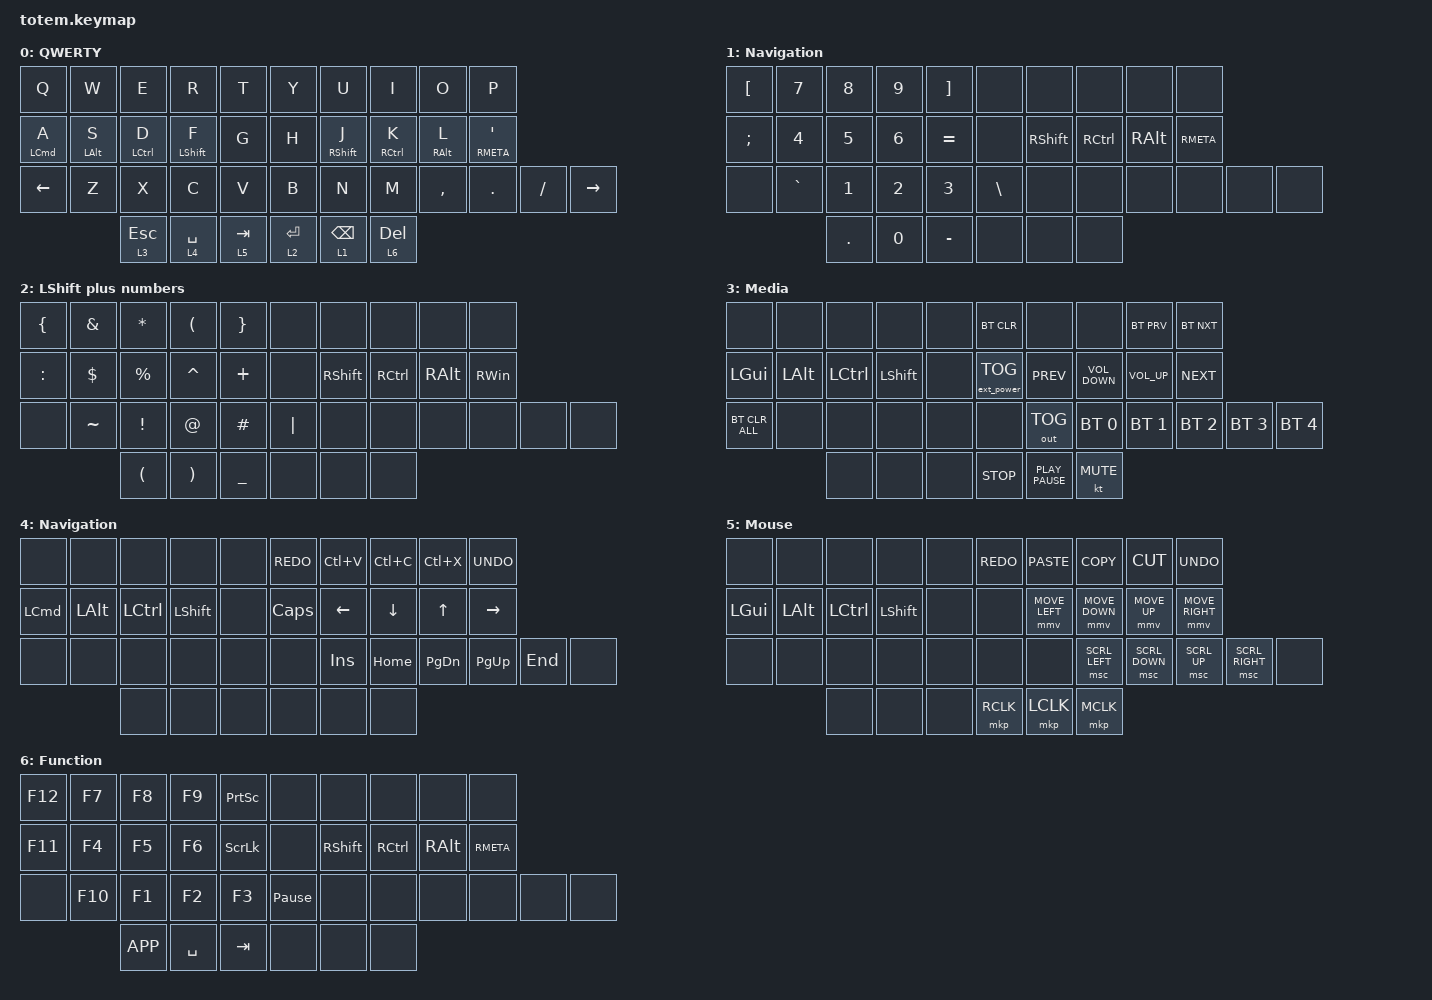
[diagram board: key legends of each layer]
#include "zmk-helpers/helper.h"
#include "zmk-helpers/key-labels/totem.h"
#include <behaviors.dtsi>
#include <dt-bindings/zmk/bt.h>
#include <dt-bindings/zmk/ext_power.h>
#include <dt-bindings/zmk/keys.h>
#include <dt-bindings/zmk/outputs.h>
#include <dt-bindings/zmk/pointing.h>

#define BASE 0
#define NAV  1
#define DIG  2
#define SYS  3

#define QUICK_TAP_MS 175

/* Timeless homerow mods */
// https://github.com/urob/zmk-config/tree/main#timeless-homerow-mods

#define KEYS_L LT0 LT1 LT2 LT3 LT4 LM0 LM1 LM2 LM3 LM4 LB0 LB1 LB2 LB3 LB4 LB5 // left hand
#define KEYS_R RT0 RT1 RT2 RT3 RT4 RM0 RM1 RM2 RM3 RM4 RB0 RB1 RB2 RB3 RB4 RB5 // right hand
#define THUMBS LH2 LH1 LH0 RH0 RH1 RH2 // thumb cluster for both hands

&mt {
    quick-tap-ms = <100>;
    global-quick-tap;
    flavor = "tap-preferred";
    tapping-term-ms = <170>;
};

/ {
    macros {
        /**
         * Temporarily switches to a layer (`&mo`) while a modifier is held.
         * Analogous to QMK's `LM()`, using a parameterized macro.
         *
         * Params:
         *  1. Layer to switch to
         *  2. Modifier to press while layer is active
         *
         * Example:
         *   `&lm NUM_LAYER LSHIFT`
         */
        lm: lm {
            compatible = "zmk,behavior-macro-two-param";
            wait-ms = <0>;
            tap-ms = <0>;
            #binding-cells = <2>;
            bindings =
                <&macro_param_1to1>,
                <&macro_press>,
                <&mo MACRO_PLACEHOLDER &macro_param_2to1>,
                <&macro_press>,
                <&kp MACRO_PLACEHOLDER>,
                <&macro_pause_for_release>,
                <&macro_param_2to1>,
                <&macro_release>,
                <&kp MACRO_PLACEHOLDER &macro_param_1to1>,
                <&macro_release>,
                <&mo MACRO_PLACEHOLDER>;
        };

        press_two_keys: press_two_keys {
            compatible = "zmk,behavior-macro-two-param";
            wait-ms = <0>;
            tap-ms = <0>;
            #binding-cells = <2>;
            bindings =
                <&macro_param_1to1>,
                <&macro_tap>,
                <&kp MACRO_PLACEHOLDER &macro_param_2to1>,
                <&macro_tap>,
                <&kp MACRO_PLACEHOLDER>;
        };

        more_or_equal: more_or_equal {
            compatible = "zmk,behavior-macro";
            #binding-cells = <0>;
            bindings = <&kp MINUS &kp GT>;
            label = "MORE_OR_EQUAL";
        };

        less_or_equal: less_or_equal {
            compatible = "zmk,behavior-macro";
            #binding-cells = <0>;
            bindings = <&kp LT &kp EQUAL>;
            label = "LESS_OR_EQUAL";
        };

        fun_arrow_right: fun_arrow_right {
            compatible = "zmk,behavior-macro";
            #binding-cells = <0>;
            bindings = <&kp MINUS &kp GT>;
            label = "FUN_ARROW_RIGHT";
        };

        comment: comment {
            compatible = "zmk,behavior-macro";
            #binding-cells = <0>;
            bindings = <&kp FSLH &kp STAR>;
            label = "MACROS_COMMENT";
        };
    };

    behaviors {
        // this is homerow mod that works identical to urob's one, but this one allows visual editor to understand
        hml: hml {
            compatible = "zmk,behavior-hold-tap";
            label = "HML";
            bindings = <&kp>, <&kp>;
            #binding-cells = <2>;
            tapping-term-ms = <280>;
            quick-tap-ms = <175>;
            require-prior-idle-ms = <150>;
            flavor = "balanced";
            hold-trigger-key-positions = <KEYS_R THUMBS>;
            hold-trigger-on-release;
        };

        hmr: hmr {
            compatible = "zmk,behavior-hold-tap";
            label = "HMR";
            bindings = <&kp>, <&kp>;
            #binding-cells = <2>;
            tapping-term-ms = <280>;
            quick-tap-ms = <175>;
            require-prior-idle-ms = <150>;
            flavor = "balanced";
            hold-trigger-key-positions = <KEYS_L THUMBS>;
            hold-trigger-on-release;
        };

        comment_or: comment_or {
            compatible = "zmk,behavior-hold-tap";
            label = "slash_or_comm";
            bindings = <&comment>, <&kp>;
            #binding-cells = <2>;
            tapping-term-ms = <200>;
            flavor = "tap-preferred";
        };

        // Custom hold-tap for Backspace / Numbers layer
        // Tap = Backspace (with autorepeat via quick-tap)
        // Hold = Numbers layer (Layer 1)
        // Tap-then-hold within 175ms = Backspace autorepeat
        bspc_num: bspc_num {
            compatible = "zmk,behavior-hold-tap";
            label = "BSPC_NUM";
            bindings = <&mo>, <&kp>;
            #binding-cells = <2>;
            flavor = "balanced";
            tapping-term-ms = <280>;
            quick-tap-ms = <175>;
            require-prior-idle-ms = <150>;
        };
    };

    keymap {
        compatible = "zmk,keymap";

        Base {
            label = "QWERTY";
            bindings = <
                &kp Q           &kp W           &kp E           &kp R           &kp T           &kp Y           &kp U           &kp I           &kp O           &kp P
                &hml LCMD A     &hml LALT S     &hml LCTRL D    &hml LEFT_SHIFT F &kp G           &kp H           &hmr RIGHT_SHIFT J &hmr RCTRL K   &hmr RIGHT_ALT L &hmr RMETA APOS
                &kp LEFT           &kp Z           &kp X           &kp C           &kp V           &kp B           &kp N           &kp M           &kp COMMA       &kp DOT         &kp SLASH       &kp RIGHT
                                                &lt 3 ESCAPE    &lt 4 SPACE     &lt 5 TAB       &lt 2 RET       &bspc_num 1 BACKSPACE &lt 6 DEL
            >;
        };

        NUMBERS {
            label = "Navigation";
            bindings = <
                &kp LEFT_BRACKET &kp N7          &kp N8          &kp N9          &kp RIGHT_BRACKET &none           &none           &none           &none           &none
                &kp SEMI        &kp NUMBER_4    &kp N5          &kp NUMBER_6    &kp EQUAL       &none           &kp RIGHT_SHIFT &kp RCTRL       &kp RIGHT_ALT   &kp RMETA
                &none           &kp GRAVE       &kp NUMBER_1    &kp NUMBER_2    &kp NUMBER_3    &kp BACKSLASH   &none           &none           &none           &none           &none           &none
                                                &kp PERIOD      &kp N0          &kp MINUS       &none           &none           &none
            >;
        };

        SYMBOLS {
            label = "LShift plus numbers";
            bindings = <
                &kp LEFT_BRACE  &kp AMPERSAND   &kp STAR        &kp LPAR        &kp RIGHT_BRACE &none           &none           &none           &none           &none
                &kp COLON       &kp DOLLAR      &kp PERCENT     &kp CARET       &kp PLUS        &none           &kp RIGHT_SHIFT &kp RCTRL       &kp RIGHT_ALT   &kp RWIN
                &none           &kp TILDE       &kp EXCL        &kp AT          &kp HASH        &kp PIPE        &none           &none           &none           &none           &none           &none
                                                &kp LEFT_PARENTHESIS &kp RIGHT_PARENTHESIS &kp UNDER &none      &none           &none
            >;
        };

        MEDIA {
            label = "Media";
            bindings = <
                &none           &none           &none           &none           &none           &bt BT_CLR      &none           &none           &bt BT_PRV      &bt BT_NXT
                &kp LEFT_GUI    &kp LALT        &kp LCTRL       &kp LSHFT       &none           &ext_power EP_TOG &kp K_PREV    &kp K_VOLUME_DOWN &kp K_VOLUME_UP &kp K_NEXT
                &bt BT_CLR_ALL  &none           &none           &none           &none           &none           &out OUT_TOG    &bt BT_SEL 0    &bt BT_SEL 1    &bt BT_SEL 2    &bt BT_SEL 3    &bt BT_SEL 4
                                                &none           &none           &none           &kp K_STOP      &kp K_PLAY_PAUSE &kt K_MUTE
            >;
        };

        Navigation {
            bindings = <
                &none           &none           &none           &none           &none           &kp K_REDO      &kp LC(V)       &kp LC(C)       &kp LC(X)       &kp K_UNDO
                &kp LCMD        &kp LEFT_ALT    &kp LCTRL       &kp LSHIFT      &none           &kp CAPS        &kp LEFT_ARROW  &kp DOWN        &kp UP_ARROW    &kp RIGHT
                &none           &none           &none           &none           &none           &none           &kp INS         &kp HOME        &kp PAGE_DOWN   &kp PAGE_UP     &kp END         &none
                                                &none           &none           &none           &none           &none           &none
            >;
        };

        Mouse {
            bindings = <
                &none           &none           &none           &none           &none           &kp K_REDO      &kp K_PASTE     &kp K_COPY      &kp K_CUT       &kp K_UNDO
                &kp LEFT_GUI    &kp LALT        &kp LCTRL       &kp LSHFT       &none           &none           &mmv MOVE_LEFT  &mmv MOVE_DOWN  &mmv MOVE_UP    &mmv MOVE_RIGHT
                &none           &none           &none           &none           &none           &none           &none           &msc SCRL_LEFT  &msc SCRL_DOWN  &msc SCRL_UP    &msc SCRL_RIGHT &none
                                                &none           &none           &none           &mkp RCLK       &mkp LCLK       &mkp MCLK
            >;
        };

        Function {
            bindings = <
                &kp F12         &kp F7          &kp F8          &kp F9          &kp PRINTSCREEN &none           &none           &none           &none           &none
                &kp F11         &kp F4          &kp F5          &kp F6          &kp SCROLLLOCK  &none           &kp RSHIFT      &kp RCTRL       &kp RALT        &kp RMETA
                &none           &kp F10         &kp F1          &kp F2          &kp F3          &kp PAUSE_BREAK &none           &none           &none           &none           &none           &none
                                                &kp K_APP       &kp SPACE       &kp TAB         &none           &none           &none
            >;
        };
    };
};
